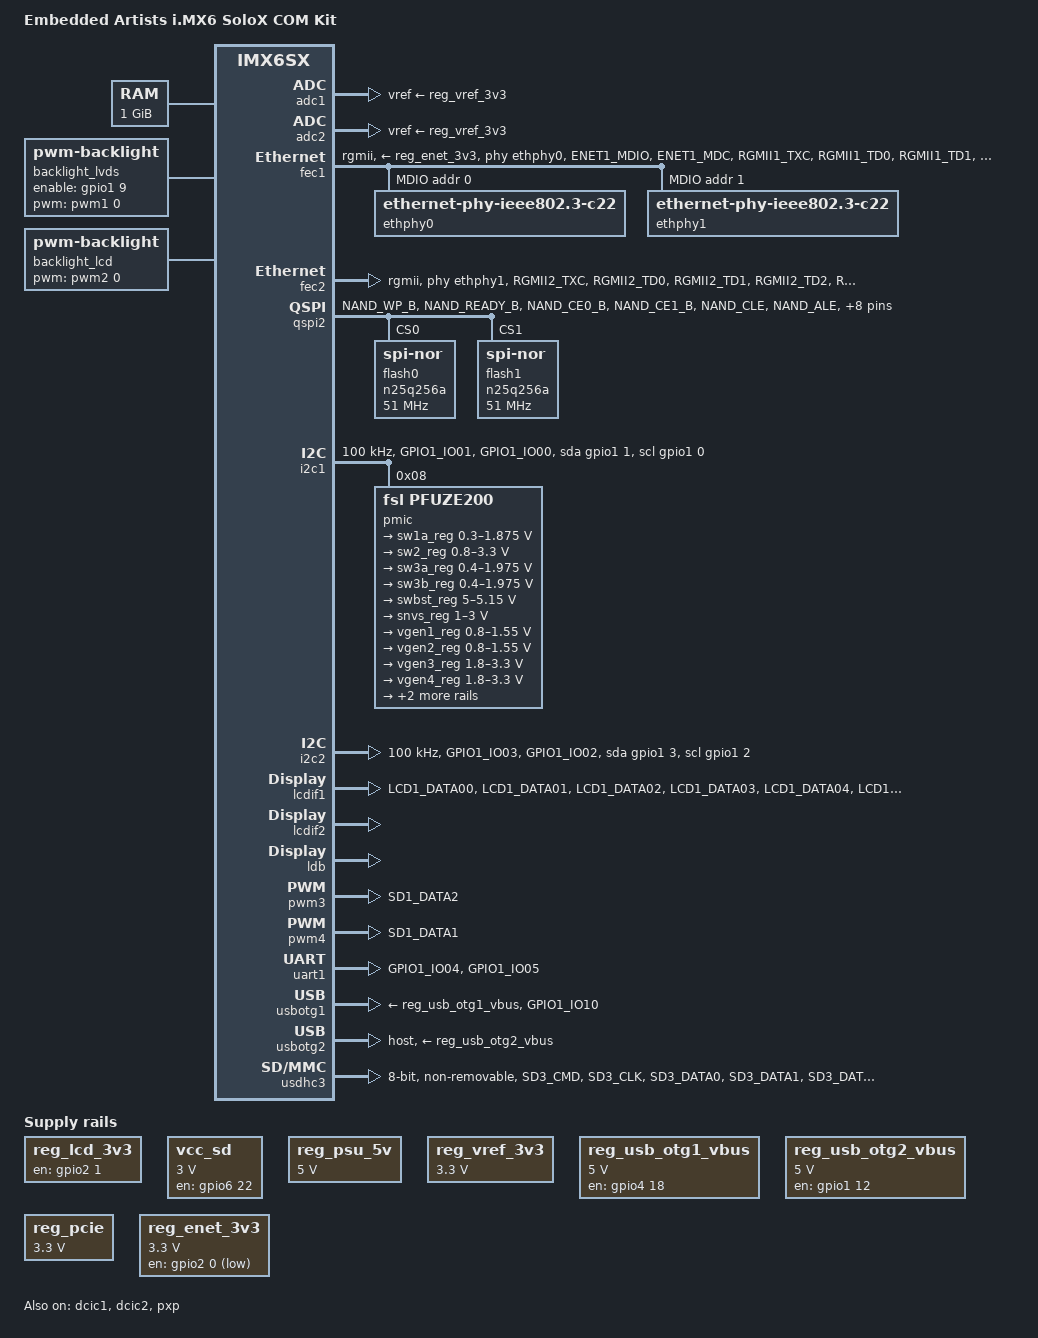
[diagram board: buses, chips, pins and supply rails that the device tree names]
/*
 * Copyright (C) 2014 Freescale Semiconductor, Inc.
 *
 * This program is free software; you can redistribute it and/or modify
 * it under the terms of the GNU General Public License version 2 as
 * published by the Free Software Foundation.
 */

/dts-v1/;

#include <dt-bindings/gpio/gpio.h>
#include <dt-bindings/input/input.h>
#include "imx6sx.dtsi"

/ {
	model = "Embedded Artists i.MX6 SoloX COM Kit";
	compatible = "fsl,imx6sxea-com", "fsl,imx6sx";

	aliases {
		usdhc2 = &usdhc2;
		usdhc4 = &usdhc4;
	};

	chosen {
		stdout-path = &uart1;
	};

	memory {
		reg = <0x80000000 0x40000000>;
	};

	backlight_lvds: backlight1 {
		compatible = "pwm-backlight";
		pwms = <&pwm1 0 5000000>;
		brightness-levels = <0 4 8 16 32 64 128 255>;
		default-brightness-level = <6>;
		fb-names = "mxs-lcdif0";
		enable-gpios = <&gpio1 9 GPIO_ACTIVE_HIGH>;
	};

	backlight_lcd: backlight2 {
		compatible = "pwm-backlight";
		pwms = <&pwm2 0 5000000>;
		brightness-levels = <0 4 8 16 32 64 128 255>;
		default-brightness-level = <6>;
		fb-names = "mxs-lcdif1";
	};

        pxp_v4l2_out {
                compatible = "fsl,imx6sx-pxp-v4l2", "fsl,imx6sl-pxp-v4l2";
                status = "okay";
        };

	regulators {
		compatible = "simple-bus";
		#address-cells = <1>;
		#size-cells = <0>;

		reg_lcd_3v3: lcd-3v3 {
			compatible = "regulator-fixed";
			regulator-name = "lcd-3v3";
			gpio = <&gpio2 1 GPIO_ACTIVE_LOW>;
			enable-active-high;
			status = "okay";
		};

		/* For uSD/MMC socket on EA COM Base Board */
		vcc_sd: regulator@0 {
			compatible = "regulator-fixed";
			reg = <0>;
			pinctrl-names = "default";
			pinctrl-0 = <&pinctrl_vcc_sd>;
			regulator-name = "VCC_SD";
			regulator-min-microvolt = <3000000>;
			regulator-max-microvolt = <3000000>;
			gpio = <&gpio6 22 GPIO_ACTIVE_HIGH>;
			enable-active-high;
		};

		reg_psu_5v: regulator@1 {
			compatible = "regulator-fixed";
			reg = <1>;
			regulator-name = "PSU-5V0";
			regulator-min-microvolt = <5000000>;
			regulator-max-microvolt = <5000000>;
			regulator-boot-on;
		};

		reg_vref_3v3: regulator@2 {
			compatible = "regulator-fixed";
			regulator-name = "vref-3v3";
			regulator-min-microvolt = <3300000>;
			regulator-max-microvolt = <3300000>;
		};

		reg_usb_otg1_vbus: regulator@3 {
			compatible = "regulator-fixed";
			reg = <3>;
			pinctrl-names = "default";
			pinctrl-0 = <&pinctrl_usb_otg1>;
			regulator-name = "usb_otg1_vbus";
			regulator-min-microvolt = <5000000>;
			regulator-max-microvolt = <5000000>;
			gpio = <&gpio4 18 GPIO_ACTIVE_HIGH>;
			enable-active-high;
		};
 
		reg_usb_otg2_vbus: regulator@4 {
			compatible = "regulator-fixed";
			reg = <4>;
			pinctrl-names = "default";
			pinctrl-0 = <&pinctrl_usb_otg2>;
			regulator-name = "usb_otg2_vbus";
			regulator-min-microvolt = <5000000>;
			regulator-max-microvolt = <5000000>;
			gpio = <&gpio1 12 GPIO_ACTIVE_HIGH>;
			enable-active-high;
		};

		reg_pcie: regulator@5 {
			compatible = "regulator-fixed";
			reg = <5>;
			regulator-name = "MPCIE_3V3";
			regulator-min-microvolt = <3300000>;
			regulator-max-microvolt = <3300000>;			
			regulator-always-on;
		};

                reg_enet_3v3: regulator@6 {
                        compatible = "regulator-fixed";
                        reg = <6>;
                        pinctrl-names = "default";
                        pinctrl-0 = <&pinctrl_enet_3v3>;
                        regulator-name = "enet_3v3";
                        regulator-min-microvolt = <3300000>;
                        regulator-max-microvolt = <3300000>;
                        gpios = <&gpio2 0 GPIO_ACTIVE_LOW>;
                };


	};

};

&adc1 {
	vref-supply = <&reg_vref_3v3>;
	status = "okay";
};

&adc2 {
	vref-supply = <&reg_vref_3v3>;
	status = "okay";
};

&cpu0 {
	operating-points = <
		/* kHz    uV */
		996000  1250000
		792000  1175000
		396000  1175000
		198000	1175000
		>;
	fsl,soc-operating-points = <
		/* ARM kHz      SOC uV */
		996000	1250000
		792000	1175000
		396000	1175000
		198000	1175000
	>;
        arm-supply = <&sw1a_reg>;
        soc-supply = <&sw1a_reg>;
	fsl,arm-soc-shared = <1>;
};

&reg_arm {
	vin-supply = <&sw1a_reg>;
	regulator-allow-bypass;
};

&reg_soc {
	vin-supply = <&sw1a_reg>;
	regulator-allow-bypass;
};

&gpc {
	fsl,ldo-bypass = <1>;
};

&fec1 {
	pinctrl-names = "default";
	pinctrl-0 = <&pinctrl_enet1>;
	phy-supply = <&reg_enet_3v3>;
	phy-mode = "rgmii";
	phy-handle = <&ethphy0>;
	status = "okay";

        mdio {
                #address-cells = <1>;
                #size-cells = <0>;

                ethphy0: ethernet-phy@0 {
			compatible = "ethernet-phy-ieee802.3-c22";
                        reg = <0>;
                };

                ethphy1: ethernet-phy@1 {
			compatible = "ethernet-phy-ieee802.3-c22";
                        reg = <1>;
                };
        };
};

&fec2 {
	pinctrl-names = "default";
	pinctrl-0 = <&pinctrl_enet2>;
	phy-mode = "rgmii";
	phy-handle = <&ethphy1>;
	status = "okay";
};

&qspi2 {
	pinctrl-names = "default";
	pinctrl-0 = <&pinctrl_qspi2_1>;
	status = "okay";

	ddrsmp=<0>;

	flash0: n25q256a@0 {
		#address-cells = <1>;
		#size-cells = <1>;
		compatible = "jedec,spi-nor";
		spi-max-frequency = <51000000>;

		/* The "spi-nor,ddr-quad-read-dummy" value is for the
		   n25q256a flash. The spi-nor.c driver will change it
		   to 2 for the is25lp064a flash. */
		spi-nor,ddr-quad-read-dummy = <6>;
		reg = <0>;
	};

	flash1: n25q256a@1 {
		#address-cells = <1>;
		#size-cells = <1>;
		compatible = "jedec,spi-nor";
		spi-max-frequency = <51000000>;

		/* The "spi-nor,ddr-quad-read-dummy" value is for the
		   n25q256a flash. The spi-nor.c driver will change it
		   to 2 for the is25lp064a flash. */
		spi-nor,ddr-quad-read-dummy = <6>;
		reg = <1>;
	};

};

&dcic1 {
	dcic_id = <0>;
	dcic_mux = "dcic-lcdif1";
	status = "okay";
};

&dcic2 {
	dcic_id = <1>;
	dcic_mux = "dcic-lvds";
	status = "okay";
};

&i2c1 {
	clock-frequency = <100000>;
	pinctrl-names = "default", "gpio";
	pinctrl-0 = <&pinctrl_i2c1>;
	pinctrl-1 = <&pinctrl_i2c1_gpio>;
	scl-gpios = <&gpio1 0 GPIO_ACTIVE_HIGH>;
	sda-gpios = <&gpio1 1 GPIO_ACTIVE_HIGH>;
	status = "okay";

	pmic: pfuze100@08 {
		compatible = "fsl,pfuze200";
		reg = <0x08>;

		regulators {
			sw1a_reg: sw1ab {
				regulator-min-microvolt = <300000>;
				regulator-max-microvolt = <1875000>;
				regulator-boot-on;
				regulator-always-on;
				regulator-ramp-delay = <6250>;
			};

			sw2_reg: sw2 {
				regulator-min-microvolt = <800000>;
				regulator-max-microvolt = <3300000>;
				regulator-boot-on;
				regulator-always-on;
			};

			sw3a_reg: sw3a {
				regulator-min-microvolt = <400000>;
				regulator-max-microvolt = <1975000>;
				regulator-boot-on;
				regulator-always-on;
			};

			sw3b_reg: sw3b {
				regulator-min-microvolt = <400000>;
				regulator-max-microvolt = <1975000>;
				regulator-boot-on;
				regulator-always-on;
			};

			swbst_reg: swbst {
				regulator-min-microvolt = <5000000>;
				regulator-max-microvolt = <5150000>;
			};

			snvs_reg: vsnvs {
				regulator-min-microvolt = <1000000>;
				regulator-max-microvolt = <3000000>;
				regulator-boot-on;
				regulator-always-on;
			};

			vref_reg: vrefddr {
				regulator-boot-on;
				regulator-always-on;
			};

			vgen1_reg: vgen1 {
				regulator-min-microvolt = <800000>;
				regulator-max-microvolt = <1550000>;
				regulator-always-on;
			};

			vgen2_reg: vgen2 {
				regulator-min-microvolt = <800000>;
				regulator-max-microvolt = <1550000>;
			};

			vgen3_reg: vgen3 {
				regulator-min-microvolt = <1800000>;
				regulator-max-microvolt = <3300000>;
				regulator-always-on;
			};

			vgen4_reg: vgen4 {
				regulator-min-microvolt = <1800000>;
				regulator-max-microvolt = <3300000>;
				regulator-always-on;
			};

			vgen5_reg: vgen5 {
				regulator-min-microvolt = <1800000>;
				regulator-max-microvolt = <3300000>;
				regulator-always-on;
			};

			vgen6_reg: vgen6 {
				regulator-min-microvolt = <1800000>;
				regulator-max-microvolt = <3300000>;
				regulator-always-on;
			};
		};
	};
};

&i2c2 {
	clock-frequency = <100000>;
	pinctrl-names = "default", "gpio";
	pinctrl-0 = <&pinctrl_i2c2>;
	pinctrl-1 = <&pinctrl_i2c2_gpio>;
	scl-gpios = <&gpio1 2 GPIO_ACTIVE_HIGH>;
	sda-gpios = <&gpio1 3 GPIO_ACTIVE_HIGH>;
	status = "okay";
};

&lcdif1 {
	pinctrl-names = "default";
	pinctrl-0 = <&pinctrl_lcdif_dat>;
	lcd-supply = <&reg_lcd_3v3>;
	display = <&display0>;
	status = "okay";

	display0: display@0 {
		bits-per-pixel = <32>;
		bus-width = <24>;

		display-timings {
			native-mode = <&t_lcd>;
			t_lcd: t_lcd_default {
				/* values may be changed in bootscript, default is for EA 7" display */
				clock-frequency = <33500000>;
				hactive = <800>;
				vactive = <480>;
				hback-porch = <89>;
				hfront-porch = <164>;
				vback-porch = <75>;/*<23>;*/
				vfront-porch = <75>;/*<10>;*/
				hsync-len = <10>;
				vsync-len = <10>;
				hsync-active = <0>;
				vsync-active = <0>;
				de-active = <1>;
				pixelclk-active = <1>;
			};
		};
	};
};

&lcdif2 {
        lcd-supply = <&reg_lcd_3v3>;

	display = <&display1>;
	disp-dev = "ldb";
	status = "okay";

	assigned-clocks = <&clks IMX6SX_CLK_LCDIF2_SEL>;
	assigned-clock-parents = <&clks IMX6SX_CLK_LDB_DI0>;
	assigned-clock-rates = <0>;

	display1: display@1 {
		bits-per-pixel = <16>;
		bus-width = <18>;
	};
};

&ldb {
	status = "okay";

	lvds-channel@0 {
		fsl,data-mapping = "spwg";
		fsl,data-width = <18>;
		crtc = "lcdif2";
		status = "okay";

		display-timings {
			native-mode = <&t_lvds>;
			t_lvds: t_lvds_default {
				/* values may be changed in bootscript, default is for Hannstar 10" display */
				clock-frequency = <65000000>;
				hactive = <1024>;
				vactive = <768>;
				hback-porch = <220>;
				hfront-porch = <40>;
				vback-porch = <21>;
				vfront-porch = <7>;
				hsync-len = <60>;
				vsync-len = <10>;
			};
		};
	};
};

&pwm3 {
	pinctrl-names = "default";
	pinctrl-0 = <&pinctrl_pwm3>;
	status = "okay";
};

&pwm4 {
	pinctrl-names = "default";
	pinctrl-0 = <&pinctrl_pwm4>;
	status = "okay";
};

&pxp {
        status = "okay";
};

&uart1 {
	pinctrl-names = "default";
	pinctrl-0 = <&pinctrl_uart1>;
	status = "okay";
};

&usbotg1 {
	vbus-supply = <&reg_usb_otg1_vbus>;
	pinctrl-names = "default";
	pinctrl-0 = <&pinctrl_usb_otg1_id>;
	status = "okay";
};

&usbotg2 {
	vbus-supply = <&reg_usb_otg2_vbus>;
	dr_mode = "host";
	status = "okay";
};

/* SD card on COM Carrier board V1 */
&usdhc2 {
	pinctrl-names = "default";
	pinctrl-0 = <&pinctrl_usdhc2>;
	cd-gpios = <&gpio2 16 GPIO_ACTIVE_LOW>;
	vmmc-supply = <&vcc_sd>;
	no-1-8-v;
	keep-power-in-suspend;
	wakeup-source;
	status = "disabled";
};

/* eMMC */
&usdhc3 {
	pinctrl-names = "default", "state_100mhz", "state_200mhz";
	pinctrl-0 = <&pinctrl_usdhc3>;
	pinctrl-1 = <&pinctrl_usdhc3_100mhz>;
	pinctrl-2 = <&pinctrl_usdhc3_200mhz>;
	bus-width = <8>;
	non-removable;
	no-1-8-v;
	status = "okay";
};

/* SD card on COM Carrier board V2 */
&usdhc4 {
	pinctrl-names = "default";
	pinctrl-0 = <&pinctrl_usdhc4>;
	cd-gpios = <&gpio2 16 GPIO_ACTIVE_LOW>;
	vmmc-supply = <&vcc_sd>;
	no-1-8-v;
	keep-power-in-suspend;
	wakeup-source;
	status = "disabled";
};

&wdog1 {
	pinctrl-names = "default";
	pinctrl-0 = <&pinctrl_wdog>;
	fsl,wdog_b;
};

&iomuxc {
	pinctrl-names = "default";
	pinctrl-0 = <&pinctrl_hog>;

	imx6x-sdb {
		pinctrl_hog: hoggrp {
			fsl,pins = <
				MX6SX_PAD_GPIO1_IO13__WDOG1_WDOG_ANY 0x30b0
			>;
		};

		pinctrl_enet1: enet1grp {
			fsl,pins = <
				MX6SX_PAD_ENET1_MDIO__ENET1_MDIO	0xa0b1
				MX6SX_PAD_ENET1_MDC__ENET1_MDC		0xa0b1
				MX6SX_PAD_RGMII1_TXC__ENET1_RGMII_TXC	0xa0b9
				MX6SX_PAD_RGMII1_TD0__ENET1_TX_DATA_0	0xa0b1
				MX6SX_PAD_RGMII1_TD1__ENET1_TX_DATA_1	0xa0b1
				MX6SX_PAD_RGMII1_TD2__ENET1_TX_DATA_2	0xa0b1
				MX6SX_PAD_RGMII1_TD3__ENET1_TX_DATA_3	0xa0b1
				MX6SX_PAD_RGMII1_TX_CTL__ENET1_TX_EN	0xa0b1
				MX6SX_PAD_RGMII1_RXC__ENET1_RX_CLK	0x3081
				MX6SX_PAD_RGMII1_RD0__ENET1_RX_DATA_0	0x3081
				MX6SX_PAD_RGMII1_RD1__ENET1_RX_DATA_1	0x3081
				MX6SX_PAD_RGMII1_RD2__ENET1_RX_DATA_2	0x3081
				MX6SX_PAD_RGMII1_RD3__ENET1_RX_DATA_3	0x3081
				MX6SX_PAD_RGMII1_RX_CTL__ENET1_RX_EN	0x3081
				MX6SX_PAD_ENET2_RX_CLK__ENET2_REF_CLK_25M	0x91
			>;
		};

                pinctrl_enet_3v3: enet3v3grp {
                        fsl,pins = <
                                MX6SX_PAD_ENET1_COL__GPIO2_IO_0         0x80000000
                        >;
                };

		pinctrl_enet2: enet2grp {
			fsl,pins = <
				MX6SX_PAD_RGMII2_TXC__ENET2_RGMII_TXC	0xa0b9
				MX6SX_PAD_RGMII2_TD0__ENET2_TX_DATA_0	0xa0b1
				MX6SX_PAD_RGMII2_TD1__ENET2_TX_DATA_1	0xa0b1
				MX6SX_PAD_RGMII2_TD2__ENET2_TX_DATA_2	0xa0b1
				MX6SX_PAD_RGMII2_TD3__ENET2_TX_DATA_3	0xa0b1
				MX6SX_PAD_RGMII2_TX_CTL__ENET2_TX_EN	0xa0b1
				MX6SX_PAD_RGMII2_RXC__ENET2_RX_CLK	0x3081
				MX6SX_PAD_RGMII2_RD0__ENET2_RX_DATA_0	0x3081
				MX6SX_PAD_RGMII2_RD1__ENET2_RX_DATA_1	0x3081
				MX6SX_PAD_RGMII2_RD2__ENET2_RX_DATA_2	0x3081
				MX6SX_PAD_RGMII2_RD3__ENET2_RX_DATA_3	0x3081
				MX6SX_PAD_RGMII2_RX_CTL__ENET2_RX_EN	0x3081
			>;
		};

		pinctrl_i2c1: i2c1grp {
			fsl,pins = <
				MX6SX_PAD_GPIO1_IO01__I2C1_SDA		0x4001b8b1
				MX6SX_PAD_GPIO1_IO00__I2C1_SCL		0x4001b8b1
			>;
		};

		pinctrl_i2c1_gpio: i2c1grp-gpio {
			fsl,pins = <
				MX6SX_PAD_GPIO1_IO01__GPIO1_IO_1        0x1b8b1
				MX6SX_PAD_GPIO1_IO00__GPIO1_IO_0        0x1b8b1
			>;
		};

		pinctrl_i2c2: i2c2grp {
			fsl,pins = <
				MX6SX_PAD_GPIO1_IO03__I2C2_SDA 0x4001b8b1
				MX6SX_PAD_GPIO1_IO02__I2C2_SCL 0x4001b8b1
			>;
		};

		pinctrl_i2c2_gpio: i2c2grp-gpio {
			fsl,pins = <
				MX6SX_PAD_GPIO1_IO03__GPIO1_IO_3        0x1b8b1
				MX6SX_PAD_GPIO1_IO02__GPIO1_IO_2        0x1b8b1
			>;
		};

		pinctrl_qspi2_1: qspi2grp_1 {
			fsl,pins = <
				MX6SX_PAD_NAND_WP_B__QSPI2_A_DATA_0     0x70a1
				MX6SX_PAD_NAND_READY_B__QSPI2_A_DATA_1  0x70a1
				MX6SX_PAD_NAND_CE0_B__QSPI2_A_DATA_2    0x70a1
				MX6SX_PAD_NAND_CE1_B__QSPI2_A_DATA_3    0x70a1
				MX6SX_PAD_NAND_CLE__QSPI2_A_SCLK        0x70a1
				MX6SX_PAD_NAND_ALE__QSPI2_A_SS0_B       0x70a1
				MX6SX_PAD_NAND_DATA07__QSPI2_A_DQS	0x70a1
				MX6SX_PAD_NAND_DATA01__QSPI2_B_DATA_0   0x70a1
				MX6SX_PAD_NAND_DATA00__QSPI2_B_DATA_1   0x70a1
				MX6SX_PAD_NAND_WE_B__QSPI2_B_DATA_2     0x70a1
				MX6SX_PAD_NAND_RE_B__QSPI2_B_DATA_3     0x70a1
				MX6SX_PAD_NAND_DATA03__QSPI2_B_SS0_B	0x70a1
				MX6SX_PAD_NAND_DATA02__QSPI2_B_SCLK     0x70a1
				MX6SX_PAD_NAND_DATA05__QSPI2_B_DQS	0x70a1
			>;
		};

		pinctrl_lcdif_dat: lcdifdatgrp {
			fsl,pins = <
				MX6SX_PAD_LCD1_DATA00__LCDIF1_DATA_0 0x4001b0b0
				MX6SX_PAD_LCD1_DATA01__LCDIF1_DATA_1 0x4001b0b0
				MX6SX_PAD_LCD1_DATA02__LCDIF1_DATA_2 0x4001b0b0
				MX6SX_PAD_LCD1_DATA03__LCDIF1_DATA_3 0x4001b0b0
				MX6SX_PAD_LCD1_DATA04__LCDIF1_DATA_4 0x4001b0b0
				MX6SX_PAD_LCD1_DATA05__LCDIF1_DATA_5 0x4001b0b0
				MX6SX_PAD_LCD1_DATA06__LCDIF1_DATA_6 0x4001b0b0
				MX6SX_PAD_LCD1_DATA07__LCDIF1_DATA_7 0x4001b0b0
				MX6SX_PAD_LCD1_DATA08__LCDIF1_DATA_8 0x4001b0b0
				MX6SX_PAD_LCD1_DATA09__LCDIF1_DATA_9 0x4001b0b0
				MX6SX_PAD_LCD1_DATA10__LCDIF1_DATA_10 0x4001b0b0
				MX6SX_PAD_LCD1_DATA11__LCDIF1_DATA_11 0x4001b0b0
				MX6SX_PAD_LCD1_DATA12__LCDIF1_DATA_12 0x4001b0b0
				MX6SX_PAD_LCD1_DATA13__LCDIF1_DATA_13 0x4001b0b0
				MX6SX_PAD_LCD1_DATA14__LCDIF1_DATA_14 0x4001b0b0
				MX6SX_PAD_LCD1_DATA15__LCDIF1_DATA_15 0x4001b0b0
				MX6SX_PAD_LCD1_DATA16__LCDIF1_DATA_16 0x4001b0b0
				MX6SX_PAD_LCD1_DATA17__LCDIF1_DATA_17 0x4001b0b0
				MX6SX_PAD_LCD1_DATA18__LCDIF1_DATA_18 0x4001b0b0
				MX6SX_PAD_LCD1_DATA19__LCDIF1_DATA_19 0x4001b0b0
				MX6SX_PAD_LCD1_DATA20__LCDIF1_DATA_20 0x4001b0b0
				MX6SX_PAD_LCD1_DATA21__LCDIF1_DATA_21 0x4001b0b0
				MX6SX_PAD_LCD1_DATA22__LCDIF1_DATA_22 0x4001b0b0
				MX6SX_PAD_LCD1_DATA23__LCDIF1_DATA_23 0x4001b0b0
			>;
		};

		pinctrl_lcdif_ctrl: lcdifctrlgrp {
			fsl,pins = <
				MX6SX_PAD_LCD1_CLK__LCDIF1_CLK	0x4001b0b0
				MX6SX_PAD_LCD1_ENABLE__LCDIF1_ENABLE 0x4001b0b0
				MX6SX_PAD_LCD1_VSYNC__LCDIF1_VSYNC 0x4001b0b0
				MX6SX_PAD_LCD1_HSYNC__LCDIF1_HSYNC 0x4001b0b0
				MX6SX_PAD_LCD1_RESET__GPIO3_IO_27 0x4001b0b0
				MX6SX_PAD_GPIO1_IO09__GPIO1_IO_9 0x4001b0b0
				MX6SX_PAD_ENET1_CRS__GPIO2_IO_1 0x110b0
			>;
		};

		pinctrl_pwm3: pwm3grp-1 {
			fsl,pins = <
				MX6SX_PAD_SD1_DATA2__PWM3_OUT 0x110b0
			>;
		};

		pinctrl_pwm4: pwm4grp-1 {
			fsl,pins = <
				MX6SX_PAD_SD1_DATA1__PWM4_OUT 0x110b0
			>;
		};

		pinctrl_vcc_sd: vccsdgrp {
			fsl,pins = <
				MX6SX_PAD_SD4_RESET_B__GPIO6_IO_22		0x17059
			>;
		};

		pinctrl_uart1: uart1grp {
			fsl,pins = <
				MX6SX_PAD_GPIO1_IO04__UART1_TX		0x1b0b1
				MX6SX_PAD_GPIO1_IO05__UART1_RX		0x1b0b1
			>;
		};

		pinctrl_usb_otg1: usbotg1grp {
			fsl,pins = <
				MX6SX_PAD_GPIO1_IO09__GPIO1_IO_9	0x10b0
			>;
		};

		pinctrl_usb_otg1_id: usbotg1idgrp {
			fsl,pins = <
				MX6SX_PAD_GPIO1_IO10__ANATOP_OTG1_ID	0x17059
			>;
		};

		pinctrl_usb_otg2: usbot2ggrp {
			fsl,pins = <
				MX6SX_PAD_GPIO1_IO12__GPIO1_IO_12	0x10b0
			>;
		};

		pinctrl_usdhc2: usdhc2grp {
			fsl,pins = <
				MX6SX_PAD_SD2_CMD__USDHC2_CMD		0x17059
				MX6SX_PAD_SD2_CLK__USDHC2_CLK		0x10059
				MX6SX_PAD_SD2_DATA0__USDHC2_DATA0	0x17059
				MX6SX_PAD_SD2_DATA1__USDHC2_DATA1	0x17059
				MX6SX_PAD_SD2_DATA2__USDHC2_DATA2	0x17059
				MX6SX_PAD_SD2_DATA3__USDHC2_DATA3	0x17059
				MX6SX_PAD_KEY_ROW1__GPIO2_IO_16		0x17059 /* CD */
			>;
		};


		pinctrl_usdhc3: usdhc3grp {
			fsl,pins = <
				MX6SX_PAD_SD3_CMD__USDHC3_CMD		0x17059
				MX6SX_PAD_SD3_CLK__USDHC3_CLK		0x10059
				MX6SX_PAD_SD3_DATA0__USDHC3_DATA0	0x17059
				MX6SX_PAD_SD3_DATA1__USDHC3_DATA1	0x17059
				MX6SX_PAD_SD3_DATA2__USDHC3_DATA2	0x17059
				MX6SX_PAD_SD3_DATA3__USDHC3_DATA3	0x17059
				MX6SX_PAD_SD3_DATA4__USDHC3_DATA4	0x17059
				MX6SX_PAD_SD3_DATA5__USDHC3_DATA5	0x17059
				MX6SX_PAD_SD3_DATA6__USDHC3_DATA6	0x17059
				MX6SX_PAD_SD3_DATA7__USDHC3_DATA7	0x17059
				/*MX6SX_PAD_KEY_COL0__GPIO2_IO_10		0x17059 /* CD * / */
				/*MX6SX_PAD_KEY_ROW0__GPIO2_IO_15		0x17059 /* WP * / */
			>;
		};

		pinctrl_usdhc3_100mhz: usdhc3grp-100mhz {
			fsl,pins = <
				MX6SX_PAD_SD3_CMD__USDHC3_CMD		0x170b9
				MX6SX_PAD_SD3_CLK__USDHC3_CLK		0x100b9
				MX6SX_PAD_SD3_DATA0__USDHC3_DATA0	0x170b9
				MX6SX_PAD_SD3_DATA1__USDHC3_DATA1	0x170b9
				MX6SX_PAD_SD3_DATA2__USDHC3_DATA2	0x170b9
				MX6SX_PAD_SD3_DATA3__USDHC3_DATA3	0x170b9
				MX6SX_PAD_SD3_DATA4__USDHC3_DATA4	0x170b9
				MX6SX_PAD_SD3_DATA5__USDHC3_DATA5	0x170b9
				MX6SX_PAD_SD3_DATA6__USDHC3_DATA6	0x170b9
				MX6SX_PAD_SD3_DATA7__USDHC3_DATA7	0x170b9
			>;
		};

		pinctrl_usdhc3_200mhz: usdhc3grp-200mhz {
			fsl,pins = <
				MX6SX_PAD_SD3_CMD__USDHC3_CMD		0x170f9
				MX6SX_PAD_SD3_CLK__USDHC3_CLK		0x100f9
				MX6SX_PAD_SD3_DATA0__USDHC3_DATA0	0x170f9
				MX6SX_PAD_SD3_DATA1__USDHC3_DATA1	0x170f9
				MX6SX_PAD_SD3_DATA2__USDHC3_DATA2	0x170f9
				MX6SX_PAD_SD3_DATA3__USDHC3_DATA3	0x170f9
				MX6SX_PAD_SD3_DATA4__USDHC3_DATA4	0x170f9
				MX6SX_PAD_SD3_DATA5__USDHC3_DATA5	0x170f9
				MX6SX_PAD_SD3_DATA6__USDHC3_DATA6	0x170f9
				MX6SX_PAD_SD3_DATA7__USDHC3_DATA7	0x170f9
			>;
		};

		pinctrl_usdhc4: usdhc4grp {
			fsl,pins = <
				MX6SX_PAD_SD4_CMD__USDHC4_CMD		0x17061
				MX6SX_PAD_SD4_CLK__USDHC4_CLK		0x10061
				MX6SX_PAD_SD4_DATA0__USDHC4_DATA0	0x17061
				MX6SX_PAD_SD4_DATA1__USDHC4_DATA1	0x17061
				MX6SX_PAD_SD4_DATA2__USDHC4_DATA2	0x17061
				MX6SX_PAD_SD4_DATA3__USDHC4_DATA3	0x17061
				MX6SX_PAD_KEY_ROW1__GPIO2_IO_16		0x17061 /* CD */
			>;
		};

		pinctrl_wdog: wdoggrp {
			fsl,pins = <
				MX6SX_PAD_GPIO1_IO13__WDOG1_WDOG_ANY 0x30b0
			>;
		};
	};
};

